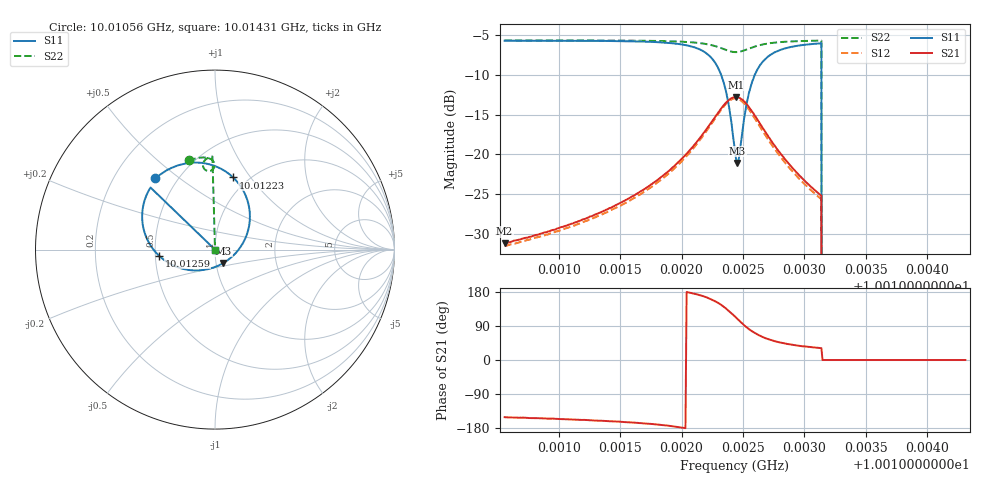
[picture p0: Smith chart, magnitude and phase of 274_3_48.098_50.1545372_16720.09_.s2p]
#  HZ  S  RI  R  50.00
! Rohde & Schwarz Vector Network Analyzer
! Rohde-Schwarz,ZNB20-2Port,1311601062101988,3.16
! Created: UTC 12/23/2023, 4:02:06 AM
! freq[Hz]  re:S11  im:S11  re:S21  im:S21  re:S12  im:S12  re:S22  im:S22
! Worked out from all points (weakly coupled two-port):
!   401 points, 10.01056 GHz to 10.01431 GHz, reference 50 ohm
!   highest |S21| = -12.80 dB at 10.01244 GHz (marker M1); lowest = -31.2 dB at 10.01056 GHz (marker M2)
!   lowest |S11| = -21.1 dB at 10.01245 GHz (marker M3), VSWR 1.19, Z = 54.3 - j8.17 ohm
!   |S11| at or under -10 dB: 10.01232 GHz to 10.0126 GHz (274.3 kHz wide, 0.00274 % of centre); 10.01314 GHz to end of sweep
!   |S22| runs from - to -5.7 dB; largest |S21 - S12| = 0.011
!   S11 on the Smith chart (normalised r, x): 10.01056 GHz: 0.38, +0.41; 10.01223 GHz: 0.85, +0.83; 10.01259 GHz: 0.52, -0.04; 10.01431 GHz: 1.00, +0.00
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1.0010559e10  -0.3328 0.3968  -0.0241 -0.0134  -0.0224 -0.0141  -0.1472 0.4983
1.0011188e10  -0.2757 0.4376  -0.036 -0.0144  -0.0337 -0.0157  -0.1047 0.5088
1.0011816e10  -0.1586 0.4809  -0.0693 -0.0111  -0.066 -0.0146  -0.0542 0.5129
1.0012088e10  -0.026 0.4739  -0.1105 0.00753  -0.1073 0.000938  -0.0243 0.5051
1.0012229e10  0.1008 0.4022  -0.146 0.0477  -0.1448 0.0385  -0.00679 0.4885
1.0012295e10  0.1659 0.312  -0.1593 0.087  -0.1601 0.0771  -0.00208 0.4733
1.0012351e10  0.1945 0.1856  -0.1552 0.1366  -0.1588 0.1265  -0.00497 0.4564
1.0012388e10  0.1771 0.083  -0.1373 0.1726  -0.1423 0.1639  -0.0132 0.4455
1.0012435e10  0.0954 -0.0391  -0.0953 0.2083  -0.0993 0.2017  -0.0298 0.438
1.0012445e10  0.0714 -0.0586  -0.0845 0.213  -0.0897 0.2058  -0.033 0.4378
1.0012454e10  0.0467 -0.0747  -0.0737 0.2165  -0.0775 0.2098  -0.0375 0.4378
1.0012473e10  -0.00744 -0.0997  -0.051 0.2203  -0.0553 0.2136  -0.0446 0.4392
1.0012539e10  -0.1983 -0.1015  0.0206 0.2021  0.0147 0.1959  -0.0629 0.4544
1.0012595e10  -0.3125 -0.0336  0.0555 0.1668  0.0491 0.162  -0.0672 0.4709
1.001266e10  -0.3778 0.057  0.0721 0.1276  0.0646 0.1247  -0.0642 0.4864
1.0012754e10  -0.4052 0.1614  0.0734 0.0878  0.0668 0.0864  -0.054 0.5004
1.0012886e10  -0.3977 0.2547  0.0644 0.0556  0.0588 0.0555  -0.0392 0.5107
1.0013064e10  -0.3708 0.326  0.0515 0.0338  0.0474 0.0343  -0.0212 0.5171
1.001312e10  -0.3623 0.3413  0.0479 0.0297  0.0442 0.0303  -0.016 0.5182
1.0013167e10  0 0  0 0  0 0  0 0
1.0013692e10  0 0  0 0  0 0  0 0
1.0014311e10  0 0  0 0  0 0  0 0
